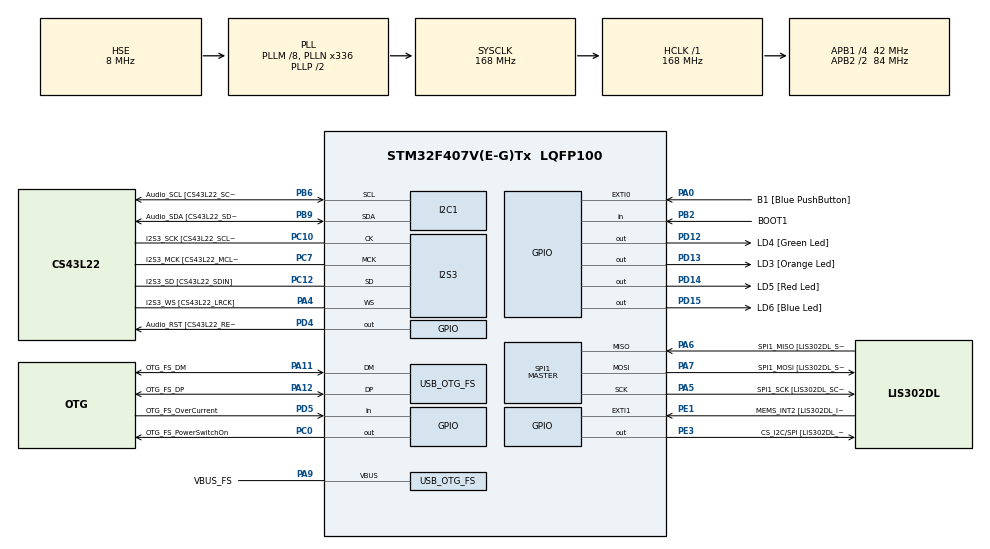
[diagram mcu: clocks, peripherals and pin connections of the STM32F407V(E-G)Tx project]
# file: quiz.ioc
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I2S3.AudioFreq-Half_Duplex_Master=I2S_AUDIOFREQ_96K
I2S3.ErrorAudioFreq=-2.34 %
I2S3.ErrorAudioFreq-Half_Duplex_Master=0.8 %
I2S3.FullDuplexMode=I2S_FULLDUPLEXMODE_DISABLE
I2S3.Instance=SPI$Index
I2S3.RealAudioFreq=93.75 KHz
I2S3.RealAudioFreq-Half_Duplex_Master=96.774 KHz
I2S3.VirtualMode=I2S_MODE_MASTER
Mcu.Family=STM32F4
Mcu.Name=STM32F407V(E-G)Tx
Mcu.Package=LQFP100
NVIC.OTG_FS_IRQn=true\:0\:0\:false\:false\:true\:true\:true
NVIC.PriorityGroup=NVIC_PRIORITYGROUP_0
PA0-WKUP.GPIO_Label=B1 [Blue PushButton]
PA0-WKUP.GPIO_ModeDefaultEXTI=GPIO_MODE_EVT_RISING
PA0-WKUP.GPIO_PuPd=GPIO_NOPULL
PA0-WKUP.Signal=GPXTI0
PA10.GPIO_Label=OTG_FS_ID
PA10.GPIO_Mode=GPIO_MODE_AF_PP
PA10.GPIO_PuPd=GPIO_NOPULL
PA10.GPIO_Speed=GPIO_SPEED_FREQ_LOW
PA10.Signal=USB_OTG_FS_ID
PA11.GPIO_Label=OTG_FS_DM
PA11.GPIO_Mode=GPIO_MODE_AF_PP
PA11.GPIO_PuPd=GPIO_NOPULL
PA11.GPIO_Speed=GPIO_SPEED_FREQ_LOW
PA11.Mode=Host_Only
PA11.Signal=USB_OTG_FS_DM
PA12.GPIO_Label=OTG_FS_DP
PA12.GPIO_Mode=GPIO_MODE_AF_PP
PA12.GPIO_PuPd=GPIO_NOPULL
PA12.GPIO_Speed=GPIO_SPEED_FREQ_LOW
PA12.Mode=Host_Only
PA12.Signal=USB_OTG_FS_DP
PA13.GPIO_Label=SWDIO
PA13.Mode=Serial_Wire
PA13.Signal=SYS_JTMS-SWDIO
PA14.GPIO_Label=SWCLK
PA14.Mode=Serial_Wire
PA14.Signal=SYS_JTCK-SWCLK
PA4.GPIO_Label=I2S3_WS [CS43L22_LRCK]
PA4.GPIO_Mode=GPIO_MODE_AF_PP
PA4.GPIO_PuPd=GPIO_NOPULL
PA4.GPIO_Speed=GPIO_SPEED_FREQ_LOW
PA4.Mode=Half_Duplex_Master
PA4.Signal=I2S3_WS
PA5.GPIO_Label=SPI1_SCK [LIS302DL_SCL/SPC]
PA5.GPIO_Mode=GPIO_MODE_AF_PP
PA5.GPIO_PuPd=GPIO_NOPULL
PA5.GPIO_Speed=GPIO_SPEED_FREQ_LOW
PA5.Mode=Full_Duplex_Master
PA5.Signal=SPI1_SCK
PA6.GPIO_Label=SPI1_MISO [LIS302DL_SDO]
PA6.GPIO_Mode=GPIO_MODE_AF_PP
PA6.GPIO_PuPd=GPIO_NOPULL
PA6.GPIO_Speed=GPIO_SPEED_FREQ_LOW
PA6.Mode=Full_Duplex_Master
PA6.Signal=SPI1_MISO
PA7.GPIO_Label=SPI1_MOSI [LIS302DL_SDA/SDI/SDO]
PA7.GPIO_Mode=GPIO_MODE_AF_PP
PA7.GPIO_PuPd=GPIO_NOPULL
PA7.GPIO_Speed=GPIO_SPEED_FREQ_LOW
PA7.Mode=Full_Duplex_Master
PA7.Signal=SPI1_MOSI
PA9.GPIO_Label=VBUS_FS
PA9.GPIO_Mode=GPIO_MODE_INPUT
PA9.GPIO_PuPd=GPIO_NOPULL
PA9.Mode=Activate_VBUS
PA9.Signal=USB_OTG_FS_VBUS
PB10.GPIO_Label=CLK_IN [MP45DT02_CLK]
PB10.GPIO_Mode=GPIO_MODE_AF_PP
PB10.GPIO_PuPd=GPIO_NOPULL
PB10.GPIO_Speed=GPIO_SPEED_FREQ_LOW
PB10.Signal=I2S2_CK
PB2.GPIO_Label=BOOT1
PB2.GPIO_Mode=GPIO_MODE_INPUT
PB2.GPIO_PuPd=GPIO_NOPULL
PB2.Signal=GPIO_Input
PB3.GPIO_Label=SWO
PB3.Signal=SYS_JTDO-SWO
PB6.GPIO_Label=Audio_SCL [CS43L22_SCL]
PB6.GPIO_Mode=GPIO_MODE_AF_OD
PB6.GPIO_PuPd=GPIO_NOPULL
PB6.GPIO_Speed=GPIO_SPEED_FREQ_LOW
PB6.Mode=I2C
PB6.Signal=I2C1_SCL
PB9.GPIO_Label=Audio_SDA [CS43L22_SDA]
PB9.GPIO_Mode=GPIO_MODE_AF_OD
PB9.GPIO_PuPd=GPIO_NOPULL
PB9.GPIO_Speed=GPIO_SPEED_FREQ_LOW
PB9.Mode=I2C
PB9.Signal=I2C1_SDA
PC0.GPIO_Label=OTG_FS_PowerSwitchOn
PC0.GPIO_PuPd=GPIO_NOPULL
PC0.GPIO_Speed=GPIO_SPEED_FREQ_LOW
PC0.PinState=GPIO_PIN_SET
PC0.Signal=GPIO_Output
PC10.GPIO_Label=I2S3_SCK [CS43L22_SCLK]
PC10.GPIO_Mode=GPIO_MODE_AF_PP
PC10.GPIO_PuPd=GPIO_NOPULL
PC10.GPIO_Speed=GPIO_SPEED_FREQ_LOW
PC10.Mode=Half_Duplex_Master
PC10.Signal=I2S3_CK
PC12.GPIO_Label=I2S3_SD [CS43L22_SDIN]
PC12.GPIO_Mode=GPIO_MODE_AF_PP
PC12.GPIO_PuPd=GPIO_NOPULL
PC12.GPIO_Speed=GPIO_SPEED_FREQ_LOW
PC12.Mode=Half_Duplex_Master
PC12.Signal=I2S3_SD
PC14-OSC32_IN.GPIO_Label=PC14-OSC32_IN
PC14-OSC32_IN.Mode=LSE-External-Oscillator
PC14-OSC32_IN.Signal=RCC_OSC32_IN
PC15-OSC32_OUT.GPIO_Label=PC15-OSC32_OUT
PC15-OSC32_OUT.Mode=LSE-External-Oscillator
PC15-OSC32_OUT.Signal=RCC_OSC32_OUT
PC3.GPIO_Label=PDM_OUT [MP45DT02_DOUT]
PC3.GPIO_Mode=GPIO_MODE_AF_PP
PC3.GPIO_PuPd=GPIO_NOPULL
PC3.GPIO_Speed=GPIO_SPEED_FREQ_LOW
PC3.Signal=I2S2_SD
PC7.GPIO_Label=I2S3_MCK [CS43L22_MCLK]
PC7.GPIO_Mode=GPIO_MODE_AF_PP
PC7.GPIO_PuPd=GPIO_NOPULL
PC7.GPIO_Speed=GPIO_SPEED_FREQ_LOW
PC7.Mode=Master_Clock_Activated
PC7.Signal=I2S3_MCK
PD12.GPIO_Label=LD4 [Green Led]
PD12.GPIO_PuPd=GPIO_NOPULL
PD12.GPIO_Speed=GPIO_SPEED_FREQ_LOW
PD12.Signal=GPIO_Output
PD13.GPIO_Label=LD3 [Orange Led]
PD13.GPIO_PuPd=GPIO_NOPULL
PD13.GPIO_Speed=GPIO_SPEED_FREQ_LOW
PD13.Signal=GPIO_Output
PD14.GPIO_Label=LD5 [Red Led]
PD14.GPIO_PuPd=GPIO_NOPULL
PD14.GPIO_Speed=GPIO_SPEED_FREQ_LOW
PD14.Signal=GPIO_Output
PD15.GPIO_Label=LD6 [Blue Led]
PD15.GPIO_PuPd=GPIO_NOPULL
PD15.GPIO_Speed=GPIO_SPEED_FREQ_LOW
PD15.Signal=GPIO_Output
PD4.GPIO_Label=Audio_RST [CS43L22_RESET]
PD4.GPIO_PuPd=GPIO_NOPULL
PD4.GPIO_Speed=GPIO_SPEED_FREQ_LOW
PD4.Signal=GPIO_Output
PD5.GPIO_Label=OTG_FS_OverCurrent
PD5.GPIO_Mode=GPIO_MODE_INPUT
PD5.GPIO_PuPd=GPIO_NOPULL
PD5.Signal=GPIO_Input
PE1.GPIO_Label=MEMS_INT2 [LIS302DL_INT2]
PE1.GPIO_ModeDefaultEXTI=GPIO_MODE_EVT_RISING
PE1.GPIO_PuPd=GPIO_NOPULL
PE1.Signal=GPXTI1
PE3.GPIO_Label=CS_I2C/SPI [LIS302DL_CS_I2C/SPI]
PE3.GPIO_PuPd=GPIO_NOPULL
PE3.GPIO_Speed=GPIO_SPEED_FREQ_LOW
PE3.Signal=GPIO_Output
PH0-OSC_IN.GPIO_Label=PH0-OSC_IN
PH0-OSC_IN.Mode=HSE-External-Oscillator
PH0-OSC_IN.Signal=RCC_OSC_IN
PH1-OSC_OUT.GPIO_Label=PH1-OSC_OUT
PH1-OSC_OUT.Mode=HSE-External-Oscillator
PH1-OSC_OUT.Signal=RCC_OSC_OUT
ProjectManager.HeapSize=0x200
ProjectManager.StackSize=0x400
ProjectManager.TargetToolchain=STM32CubeIDE
RCC.48MHZClocksFreq_Value=48000000
RCC.AHBFreq_Value=168000000
RCC.APB1CLKDivider=RCC_HCLK_DIV4
RCC.APB1Freq_Value=42000000
RCC.APB1TimFreq_Value=84000000
RCC.APB2CLKDivider=RCC_HCLK_DIV2
RCC.APB2Freq_Value=84000000
RCC.APB2TimFreq_Value=168000000
RCC.CortexFreq_Value=168000000
RCC.HCLKFreq_Value=168000000
RCC.HSE_VALUE=8000000
RCC.HSI_VALUE=16000000
RCC.PLLM=8
RCC.PLLN=336
RCC.PLLQ=7
RCC.SYSCLKFreq_VALUE=168000000
RCC.SYSCLKSource=RCC_SYSCLKSOURCE_PLLCLK
RCC.VCOOutputFreq_Value=336000000
SPI1.BaudRatePrescaler-Full_Duplex_Master=SPI_BAUDRATEPRESCALER_2
SPI1.CalculateBaudRate-Full_Duplex_Master=42.0 MBits/s
SPI1.Direction=SPI_DIRECTION_2LINES
SPI1.Mode=SPI_MODE_MASTER
SPI1.Mode-Full_Duplex_Master=SPI_MODE_MASTER
SPI1.VirtualType=VM_MASTER
USB_HOST.BSP.number=1
USB_HOST.USBH_HandleTypeDef-CDC_FS=hUsbHostFS
USB_HOST.VirtualModeFS=Cdc
USB_HOST0.BSP.STBoard=false
USB_HOST0.BSP.api=Unknown
USB_HOST0.BSP.i2caddr=0
USB_HOST0.BSP.i2creg=0
USB_HOST0.BSP.instance=PC0
USB_HOST0.BSP.ip=GPIO
USB_HOST0.BSP.mode=Output
USB_HOST0.BSP.name=Drive_VBUS_FS
USB_HOST0.BSP.solution=PC0
USB_OTG_FS.VirtualMode=Host_Only
USB_OTG_FS.phy_itface=HCD_PHY_EMBEDDED
VP_USB_HOST_VS_USB_HOST_CDC_FS.Mode=CDC_FS
board=STM32F4DISCOVERY

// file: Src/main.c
/* USER CODE BEGIN Header */
/**
  ******************************************************************************
  * @file           : main.c
  * @brief          : Main program body
  ******************************************************************************
  * @attention
  *
  * <h2><center>&copy; Copyright (c) 2019 STMicroelectronics.
  * All rights reserved.</center></h2>
  *
  * This software component is licensed by ST under Ultimate Liberty license
  * SLA0044, the "License"; You may not use this file except in compliance with
  * the License. You may obtain a copy of the License at:
  *                             www.st.com/SLA0044
  *
  ******************************************************************************
  */
/* USER CODE END Header */

#include "main.h"
#include "usb_host.h"

I2C_HandleTypeDef hi2c1;

I2S_HandleTypeDef hi2s3;

SPI_HandleTypeDef hspi1;

void SystemClock_Config(void);
static void MX_GPIO_Init(void);
static void MX_I2C1_Init(void);
static void MX_I2S3_Init(void);
static void MX_SPI1_Init(void);
void MX_USB_HOST_Process(void);

int main(void)
{

  /* MCU Configuration--------------------------------------------------------*/

  /* Reset of all peripherals, Initializes the Flash interface and the Systick. */
  HAL_Init();

  /* Configure the system clock */
  SystemClock_Config();

  /* Initialize all configured peripherals */
  MX_GPIO_Init();
  MX_I2C1_Init();
  MX_I2S3_Init();
  MX_SPI1_Init();
  MX_USB_HOST_Init();
  /* USER CODE BEGIN 2 */

  int state = 0;
  int isPress = 0;
  int period = 0;
  int cnt = 0;

  /* USER CODE END 2 */

  /* Infinite loop */
  while (1)
  {
    MX_USB_HOST_Process();

    // debouncing

    /* USER CODE BEGIN 3 */

    // debouncing

    if(HAL_GPIO_ReadPin(GPIOA, GPIO_PIN_0)) {
    	//HAL_Delay(20);
        	if(isPress == 0) {
        		period += 30;
        		isPress = 1;
        		if(state == 0) state = 1;
        		else if(state == 1) state = 0;
        	}

     } else {
    		isPress = 0;
    		period = 0;
     }

    if(period >= 1000) {
    	HAL_GPIO_WritePin(GPIOD, GPIO_PIN_15, 1);
    	HAL_GPIO_WritePin(GPIOD, GPIO_PIN_14, 1);
    	HAL_GPIO_WritePin(GPIOD, GPIO_PIN_13, 1);
    	HAL_GPIO_WritePin(GPIOD, GPIO_PIN_12, 1);
    	exit(0);
    }

    if(state == 0) {
    	if(cnt % 2 == 0) {
    		HAL_GPIO_TogglePin(GPIOD, GPIO_PIN_15);
    		HAL_GPIO_TogglePin(GPIOD, GPIO_PIN_14);
    		HAL_GPIO_TogglePin(GPIOD, GPIO_PIN_13);
    		HAL_GPIO_TogglePin(GPIOD, GPIO_PIN_12);
    		HAL_Delay(50);
    	} else if(cnt % 2 == 1) {
    		HAL_GPIO_TogglePin(GPIOD, GPIO_PIN_15);
       		HAL_GPIO_TogglePin(GPIOD, GPIO_PIN_14);
       		HAL_GPIO_TogglePin(GPIOD, GPIO_PIN_13);
    		HAL_GPIO_TogglePin(GPIOD, GPIO_PIN_12);
    		HAL_Delay(100);
    	}
    	cnt++;

    } else if(state == 1) {
    	if(cnt % 2 == 0) {
    	    HAL_GPIO_TogglePin(GPIOD, GPIO_PIN_15);
    	    HAL_GPIO_TogglePin(GPIOD, GPIO_PIN_14);
    	    HAL_GPIO_TogglePin(GPIOD, GPIO_PIN_13);
    	    HAL_GPIO_TogglePin(GPIOD, GPIO_PIN_12);
    	    HAL_Delay(100);
    	} else if(cnt % 2 == 1) {
    	    HAL_GPIO_TogglePin(GPIOD, GPIO_PIN_15);
    	    HAL_GPIO_TogglePin(GPIOD, GPIO_PIN_14);
    	    HAL_GPIO_TogglePin(GPIOD, GPIO_PIN_13);
    	    HAL_GPIO_TogglePin(GPIOD, GPIO_PIN_12);
    	    HAL_Delay(50);
    	 }
       	cnt++;
    }

   //HAL_Delay(50);

  }
  /* USER CODE END 3 */
}

void SystemClock_Config(void)
{
  RCC_OscInitTypeDef RCC_OscInitStruct = {0};
  RCC_ClkInitTypeDef RCC_ClkInitStruct = {0};
  RCC_PeriphCLKInitTypeDef PeriphClkInitStruct = {0};

  /** Configure the main internal regulator output voltage
  */
  __HAL_RCC_PWR_CLK_ENABLE();
  __HAL_PWR_VOLTAGESCALING_CONFIG(PWR_REGULATOR_VOLTAGE_SCALE1);
  /** Initializes the CPU, AHB and APB busses clocks
  */
  RCC_OscInitStruct.OscillatorType = RCC_OSCILLATORTYPE_HSE;
  RCC_OscInitStruct.HSEState = RCC_HSE_ON;
  RCC_OscInitStruct.PLL.PLLState = RCC_PLL_ON;
  RCC_OscInitStruct.PLL.PLLSource = RCC_PLLSOURCE_HSE;
  RCC_OscInitStruct.PLL.PLLM = 8;
  RCC_OscInitStruct.PLL.PLLN = 336;
  RCC_OscInitStruct.PLL.PLLP = RCC_PLLP_DIV2;
  RCC_OscInitStruct.PLL.PLLQ = 7;
  if (HAL_RCC_OscConfig(&RCC_OscInitStruct) != HAL_OK)
  {
    Error_Handler();
  }
  /** Initializes the CPU, AHB and APB busses clocks
  */
  RCC_ClkInitStruct.ClockType = RCC_CLOCKTYPE_HCLK|RCC_CLOCKTYPE_SYSCLK
                              |RCC_CLOCKTYPE_PCLK1|RCC_CLOCKTYPE_PCLK2;
  RCC_ClkInitStruct.SYSCLKSource = RCC_SYSCLKSOURCE_PLLCLK;
  RCC_ClkInitStruct.AHBCLKDivider = RCC_SYSCLK_DIV1;
  RCC_ClkInitStruct.APB1CLKDivider = RCC_HCLK_DIV4;
  RCC_ClkInitStruct.APB2CLKDivider = RCC_HCLK_DIV2;

  if (HAL_RCC_ClockConfig(&RCC_ClkInitStruct, FLASH_LATENCY_5) != HAL_OK)
  {
    Error_Handler();
  }
  PeriphClkInitStruct.PeriphClockSelection = RCC_PERIPHCLK_I2S;
  PeriphClkInitStruct.PLLI2S.PLLI2SN = 192;
  PeriphClkInitStruct.PLLI2S.PLLI2SR = 2;
  if (HAL_RCCEx_PeriphCLKConfig(&PeriphClkInitStruct) != HAL_OK)
  {
    Error_Handler();
  }
}

static void MX_I2C1_Init(void)
{

  hi2c1.Instance = I2C1;
  hi2c1.Init.ClockSpeed = 100000;
  hi2c1.Init.DutyCycle = I2C_DUTYCYCLE_2;
  hi2c1.Init.OwnAddress1 = 0;
  hi2c1.Init.AddressingMode = I2C_ADDRESSINGMODE_7BIT;
  hi2c1.Init.DualAddressMode = I2C_DUALADDRESS_DISABLE;
  hi2c1.Init.OwnAddress2 = 0;
  hi2c1.Init.GeneralCallMode = I2C_GENERALCALL_DISABLE;
  hi2c1.Init.NoStretchMode = I2C_NOSTRETCH_DISABLE;
  if (HAL_I2C_Init(&hi2c1) != HAL_OK)
  {
    Error_Handler();
  }

}

static void MX_I2S3_Init(void)
{

  hi2s3.Instance = SPI3;
  hi2s3.Init.Mode = I2S_MODE_MASTER_TX;
  hi2s3.Init.Standard = I2S_STANDARD_PHILIPS;
  hi2s3.Init.DataFormat = I2S_DATAFORMAT_16B;
  hi2s3.Init.MCLKOutput = I2S_MCLKOUTPUT_ENABLE;
  hi2s3.Init.AudioFreq = I2S_AUDIOFREQ_96K;
  hi2s3.Init.CPOL = I2S_CPOL_LOW;
  hi2s3.Init.ClockSource = I2S_CLOCK_PLL;
  hi2s3.Init.FullDuplexMode = I2S_FULLDUPLEXMODE_DISABLE;
  if (HAL_I2S_Init(&hi2s3) != HAL_OK)
  {
    Error_Handler();
  }

}

static void MX_SPI1_Init(void)
{

  /* SPI1 parameter configuration*/
  hspi1.Instance = SPI1;
  hspi1.Init.Mode = SPI_MODE_MASTER;
  hspi1.Init.Direction = SPI_DIRECTION_2LINES;
  hspi1.Init.DataSize = SPI_DATASIZE_8BIT;
  hspi1.Init.CLKPolarity = SPI_POLARITY_LOW;
  hspi1.Init.CLKPhase = SPI_PHASE_1EDGE;
  hspi1.Init.NSS = SPI_NSS_SOFT;
  hspi1.Init.BaudRatePrescaler = SPI_BAUDRATEPRESCALER_2;
  hspi1.Init.FirstBit = SPI_FIRSTBIT_MSB;
  hspi1.Init.TIMode = SPI_TIMODE_DISABLE;
  hspi1.Init.CRCCalculation = SPI_CRCCALCULATION_DISABLE;
  hspi1.Init.CRCPolynomial = 10;
  if (HAL_SPI_Init(&hspi1) != HAL_OK)
  {
    Error_Handler();
  }

}

static void MX_GPIO_Init(void)
{
  GPIO_InitTypeDef GPIO_InitStruct = {0};

  /* GPIO Ports Clock Enable */
  __HAL_RCC_GPIOE_CLK_ENABLE();
  __HAL_RCC_GPIOC_CLK_ENABLE();
  __HAL_RCC_GPIOH_CLK_ENABLE();
  __HAL_RCC_GPIOA_CLK_ENABLE();
  __HAL_RCC_GPIOB_CLK_ENABLE();
  __HAL_RCC_GPIOD_CLK_ENABLE();

  /*Configure GPIO pin Output Level */
  HAL_GPIO_WritePin(CS_I2C_SPI_GPIO_Port, CS_I2C_SPI_Pin, GPIO_PIN_RESET);

  /*Configure GPIO pin Output Level */
  HAL_GPIO_WritePin(OTG_FS_PowerSwitchOn_GPIO_Port, OTG_FS_PowerSwitchOn_Pin, GPIO_PIN_SET);

  /*Configure GPIO pin Output Level */
  HAL_GPIO_WritePin(GPIOD, LD4_Pin|LD3_Pin|LD5_Pin|LD6_Pin
                          |Audio_RST_Pin, GPIO_PIN_RESET);

  /*Configure GPIO pin : CS_I2C_SPI_Pin */
  GPIO_InitStruct.Pin = CS_I2C_SPI_Pin;
  GPIO_InitStruct.Mode = GPIO_MODE_OUTPUT_PP;
  GPIO_InitStruct.Pull = GPIO_NOPULL;
  GPIO_InitStruct.Speed = GPIO_SPEED_FREQ_LOW;
  HAL_GPIO_Init(CS_I2C_SPI_GPIO_Port, &GPIO_InitStruct);

  /*Configure GPIO pin : OTG_FS_PowerSwitchOn_Pin */
  GPIO_InitStruct.Pin = OTG_FS_PowerSwitchOn_Pin;
  GPIO_InitStruct.Mode = GPIO_MODE_OUTPUT_PP;
  GPIO_InitStruct.Pull = GPIO_NOPULL;
  GPIO_InitStruct.Speed = GPIO_SPEED_FREQ_LOW;
  HAL_GPIO_Init(OTG_FS_PowerSwitchOn_GPIO_Port, &GPIO_InitStruct);

  /*Configure GPIO pin : PDM_OUT_Pin */
  GPIO_InitStruct.Pin = PDM_OUT_Pin;
  GPIO_InitStruct.Mode = GPIO_MODE_AF_PP;
  GPIO_InitStruct.Pull = GPIO_NOPULL;
  GPIO_InitStruct.Speed = GPIO_SPEED_FREQ_LOW;
  GPIO_InitStruct.Alternate = GPIO_AF5_SPI2;
  HAL_GPIO_Init(PDM_OUT_GPIO_Port, &GPIO_InitStruct);

  /*Configure GPIO pin : B1_Pin */
  GPIO_InitStruct.Pin = B1_Pin;
  GPIO_InitStruct.Mode = GPIO_MODE_EVT_RISING;
  GPIO_InitStruct.Pull = GPIO_NOPULL;
  HAL_GPIO_Init(B1_GPIO_Port, &GPIO_InitStruct);

  /*Configure GPIO pin : BOOT1_Pin */
  GPIO_InitStruct.Pin = BOOT1_Pin;
  GPIO_InitStruct.Mode = GPIO_MODE_INPUT;
  GPIO_InitStruct.Pull = GPIO_NOPULL;
  HAL_GPIO_Init(BOOT1_GPIO_Port, &GPIO_InitStruct);

  /*Configure GPIO pin : CLK_IN_Pin */
  GPIO_InitStruct.Pin = CLK_IN_Pin;
  GPIO_InitStruct.Mode = GPIO_MODE_AF_PP;
  GPIO_InitStruct.Pull = GPIO_NOPULL;
  GPIO_InitStruct.Speed = GPIO_SPEED_FREQ_LOW;
  GPIO_InitStruct.Alternate = GPIO_AF5_SPI2;
  HAL_GPIO_Init(CLK_IN_GPIO_Port, &GPIO_InitStruct);

  /*Configure GPIO pins : LD4_Pin LD3_Pin LD5_Pin LD6_Pin
                           Audio_RST_Pin */
  GPIO_InitStruct.Pin = LD4_Pin|LD3_Pin|LD5_Pin|LD6_Pin
                          |Audio_RST_Pin;
  GPIO_InitStruct.Mode = GPIO_MODE_OUTPUT_PP;
  GPIO_InitStruct.Pull = GPIO_NOPULL;
  GPIO_InitStruct.Speed = GPIO_SPEED_FREQ_LOW;
  HAL_GPIO_Init(GPIOD, &GPIO_InitStruct);

  /*Configure GPIO pin : OTG_FS_OverCurrent_Pin */
  GPIO_InitStruct.Pin = OTG_FS_OverCurrent_Pin;
  GPIO_InitStruct.Mode = GPIO_MODE_INPUT;
  GPIO_InitStruct.Pull = GPIO_NOPULL;
  HAL_GPIO_Init(OTG_FS_OverCurrent_GPIO_Port, &GPIO_InitStruct);

  /*Configure GPIO pin : MEMS_INT2_Pin */
  GPIO_InitStruct.Pin = MEMS_INT2_Pin;
  GPIO_InitStruct.Mode = GPIO_MODE_EVT_RISING;
  GPIO_InitStruct.Pull = GPIO_NOPULL;
  HAL_GPIO_Init(MEMS_INT2_GPIO_Port, &GPIO_InitStruct);

}

void Error_Handler(void)
{
}

/************************ (C) COPYRIGHT STMicroelectronics *****END OF FILE****/
